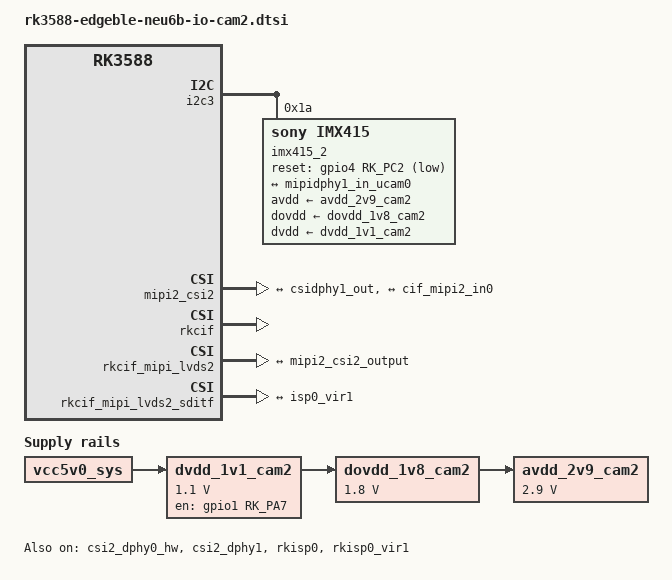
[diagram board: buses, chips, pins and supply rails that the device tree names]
// SPDX-License-Identifier: (GPL-2.0+ OR MIT)
/*
 * Copyright (c) 2023 Edgeble AI Technologies Pvt. Ltd.
 *
 * DT-overlay for the Edgeble Neu6B-IO CAM3-IMX415.
 */

/ {
	dvdd_1v1_cam2: dvdd-1v1-cam2-regulator {
		compatible = "regulator-fixed";
		regulator-name = "dvdd_1v1_cam2";
		enable-active-high;
		gpio = <&gpio1 RK_PA7 GPIO_ACTIVE_HIGH>;
		pinctrl-names = "default";
		pinctrl-0 = <&pwdn_gpio_cam2>;
		regulator-always-on;
		regulator-boot-on;
		regulator-min-microvolt = <1100000>;
		regulator-max-microvolt = <1100000>;
		vin-supply = <&vcc5v0_sys>;
	};

	dovdd_1v8_cam2: dovdd-1v8-cam2-regulator {
		compatible = "regulator-fixed";
		regulator-name = "dovdd_1v8_cam2";
		regulator-always-on;
		regulator-boot-on;
		regulator-min-microvolt = <1800000>;
		regulator-max-microvolt = <1800000>;
		vin-supply = <&dvdd_1v1_cam2>;
	};

	avdd_2v9_cam2: avdd-2v9-cam2-regulator {
		compatible = "regulator-fixed";
		regulator-name = "avdd_2v9_cam2";
		regulator-always-on;
		regulator-boot-on;
		regulator-min-microvolt = <2900000>;
		regulator-max-microvolt = <2900000>;
		vin-supply = <&dovdd_1v8_cam2>;
	};
};

&pinctrl {
	cam2 {
		pwdn_gpio_cam2: pwdn-gpio-cam2 {
			rockchip,pins = <1 RK_PA7 RK_FUNC_GPIO &pcfg_pull_none>;
		};
	};
};

&i2c3 {
	#address-cells = <1>;
	#size-cells = <0>;
	status = "okay";

	imx415_2: imx415@1a {
		compatible = "sony,imx415";
		reg = <0x1a>;
		clocks = <&cru CLK_MIPI_CAMARAOUT_M3>;
		clock-names = "xvclk";
		pinctrl-names = "default";
		pinctrl-0 = <&mipim0_camera3_clk>;
		power-domains = <&power RK3588_PD_VI>;
		reset-gpios = <&gpio4 RK_PC2 GPIO_ACTIVE_LOW>;
		avdd-supply = <&avdd_2v9_cam2>;
		dovdd-supply = <&dovdd_1v8_cam2>;
		dvdd-supply = <&dvdd_1v1_cam2>;
		rockchip,camera-module-index = <2>;
		rockchip,camera-module-facing = "back";
		rockchip,camera-module-name = "EDGEBLE-CAM4K-A00";
		rockchip,camera-module-lens-name = "DEFAULT";
		port {
			imx415_2_out0: endpoint {
				remote-endpoint = <&mipidphy1_in_ucam0>;
				data-lanes = <1 2>;
			};
		};
	};
};

&csi2_dphy0_hw {
	status = "okay";
};

&csi2_dphy1 {
	status = "okay";

	ports {
		#address-cells = <1>;
		#size-cells = <0>;

		port@0 {
			reg = <0>;
			#address-cells = <1>;
			#size-cells = <0>;

			mipidphy1_in_ucam0: endpoint@1 {
				reg = <1>;
				remote-endpoint = <&imx415_2_out0>;
				data-lanes = <1 2>;
			};
		};

		port@1 {
			reg = <1>;
			#address-cells = <1>;
			#size-cells = <0>;

			csidphy1_out: endpoint@0 {
				reg = <0>;
				remote-endpoint = <&mipi2_csi2_input>;
			};
		};
	};
};

&mipi2_csi2 {
	status = "okay";

	ports {
		#address-cells = <1>;
		#size-cells = <0>;

		port@0 {
			reg = <0>;
			#address-cells = <1>;
			#size-cells = <0>;

			mipi2_csi2_input: endpoint@1 {
				reg = <1>;
				remote-endpoint = <&csidphy1_out>;
			};
		};

		port@1 {
			reg = <1>;
			#address-cells = <1>;
			#size-cells = <0>;

			mipi2_csi2_output: endpoint@0 {
				reg = <0>;
				remote-endpoint = <&cif_mipi2_in0>;
			};
		};
	};
};

&rkcif {
	status = "okay";
};

&rkcif_mipi_lvds2 {
	status = "okay";

	port {
		cif_mipi2_in0: endpoint {
			remote-endpoint = <&mipi2_csi2_output>;
		};
	};
};

&rkcif_mipi_lvds2_sditf {
	status = "okay";

	port {
		mipi_lvds2_sditf: endpoint {
			remote-endpoint = <&isp0_vir1>;
		};
	};
};

&rkcif_mmu {
	status = "okay";
};

&rkisp0 {
	status = "okay";
};

&isp0_mmu {
	status = "okay";
};

&rkisp0_vir1 {
	status = "okay";

	port {
		#address-cells = <1>;
		#size-cells = <0>;

		isp0_vir1: endpoint@0 {
			reg = <0>;
			remote-endpoint = <&mipi_lvds2_sditf>;
		};
	};
};
